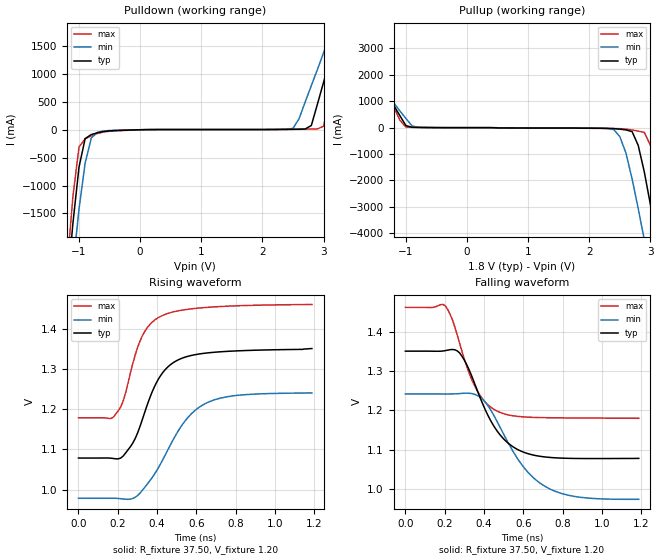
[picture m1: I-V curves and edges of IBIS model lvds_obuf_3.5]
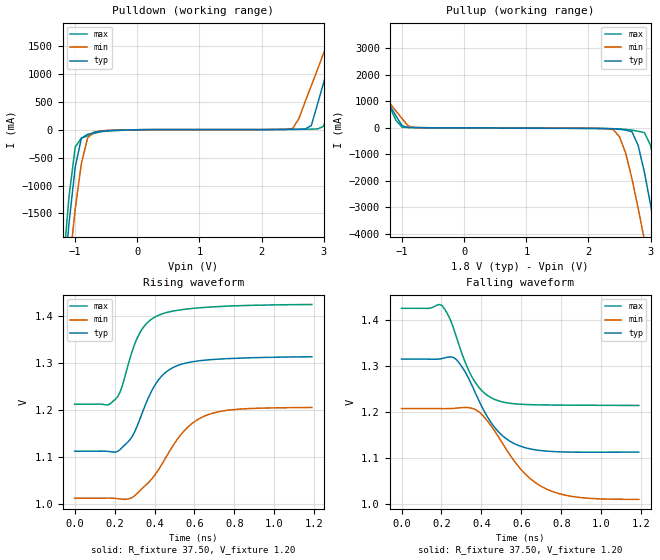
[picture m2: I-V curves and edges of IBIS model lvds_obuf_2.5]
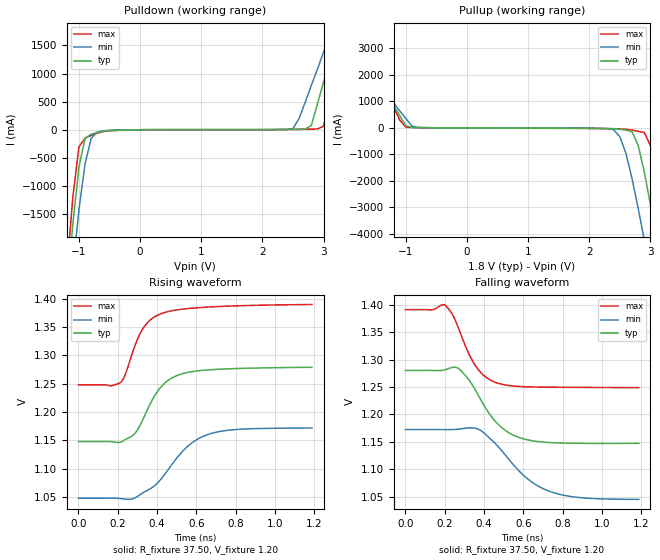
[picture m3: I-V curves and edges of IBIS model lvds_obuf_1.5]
| IBIS file created by TI
[IBIS ver]   3.2
[File name]   lvds_75.ibs
[File Rev]   1.0
[Date]   Dec 06, 2007
[Source]   Data created at TI
[Notes]   GS30 LVDS Driver
[Disclaimer] Please be aware that in the absence of a written agreement,
                 Texas Instruments (TI) assumes no liability for: 1) the
                 accuracy of the IBIS models provided to your company, 2) the
                 proper functioning of these IBIS models in your design or for
                 any resulting applications, or; 3) infringement of patents,
                 copyrights, or intellectual property rights resulting from
                 your use of these IBIS models. TI provides IBIS models as a
                 service to our customers and therefore reserves the right to
                 limit distribution of the IBIS models.
[Copyright]   Property of Texas Instruments Incorporated. Unauthorized
   reproduction and/or distribution is strictly prohibited. This
   product is protected under copyright law and trade secret law
   as an unpublished work. Copyright (C) 2003, Texas Instruments
   Incorporated, all rights reserved. These commodities are under
   the U.S. Government distribution license control. As such,
   they are not to be re-exported without the prior approval of
   the U.S. Department of Commerce.
|   Component ADS5281IPFP
[Component]   ADS5281IPFP
[Manufacturer]   Texas Instruments.
[Package]
| variable   typ   min   max
R_pkg   0.5   NA   NA
L_pkg   5.00nH   NA   NA
C_pkg   2.00pF   NA   NA
[Pin]  signal_name   model_name   R_pin   L_pin   C_pin
LOUTP  LOUTP   OPERATIONAL_MODE
LOUTM  LOUTM   OPERATIONAL_MODE
| IN   IN   dummy
SLVDD  SLVDD   POWER
LVSS   LVSS   GND
[Diff Pin]   inv_pin   vdiff   tdelay_typ   tdelay_min   tdelay_max
 LOUTP  LOUTM   350mV   0   0   0
|   Component ADS528XIRGC
[Component]   ADS528XIRGC
[Manufacturer]   Texas Instruments.
[Package]
| variable   typ   min   max
R_pkg   0.5   NA   NA
L_pkg   2.00nH   NA   NA
C_pkg   0.3pF   NA   NA
[Pin]  signal_name   model_name   R_pin   L_pin   C_pin
LOUTP  LOUTP   OPERATIONAL_MODE
LOUTM  LOUTM   OPERATIONAL_MODE
| IN   IN   dummy
SLVDD  SLVDD   POWER
LVSS   LVSS   GND
[Diff Pin]   inv_pin   vdiff   tdelay_typ   tdelay_min   tdelay_max
 LOUTP  LOUTM   350mV   0   0   0
|   Component AFE5805ZCF
[Component]   AFE5805ZCF
[Manufacturer]   Texas Instruments.
[Package]
| variable   typ   min   max
R_pkg   0.3   NA   NA
L_pkg   5.00nH   NA   NA
C_pkg   1.00pF   NA   NA
[Pin]  signal_name   model_name   R_pin   L_pin   C_pin
LOUTP  LOUTP   OPERATIONAL_MODE
LOUTM  LOUTM   OPERATIONAL_MODE
| IN   IN   dummy
SLVDD  SLVDD   POWER
LVSS   LVSS   GND
[Diff Pin]   inv_pin   vdiff   tdelay_typ   tdelay_min   tdelay_max
 LOUTP  LOUTM   350mV   0   0   0
[Model Selector] OPERATIONAL_MODE
|  Model name   Description
lvds_obuf_3.5   LVDS tri-state buffer with current setting 3.5mA
lvds_obuf_2.5   LVDS tri-state buffer with current setting 2.5mA
lvds_obuf_1.5   LVDS tri-state buffer with current setting 1.5mA
lvds_obuf_0.5   LVDS tri-state buffer with current setting 0.5mA
lvds_obuf_7.5   LVDS tri-state buffer with current setting 7.5mA
lvds_obuf_6.5   LVDS tri-state buffer with current setting 6.5mA
lvds_obuf_5.5   LVDS tri-state buffer with current setting 5.5mA
lvds_obuf_4.5   LVDS tri-state buffer with current setting 4.5mA
| Models and submodels in the file (8): lvds_obuf_3.5 (Output), lvds_obuf_2.5 (Output), lvds_obuf_1.5 (Output), lvds_obuf_0.5 (Output), lvds_obuf_7.5 (Output), lvds_obuf_6.5 (Output), lvds_obuf_5.5 (Output), lvds_obuf_4.5 (Output)
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|   Model lvds_obuf_3.5
[Model]   lvds_obuf_3.5
Model_type   Output
Polarity   Non-Inverting
Vmeas =   1.2000V
C_comp   4.00pF   4.00pF   4.00pF
[Temperature Range]   25.00   0.12k   -40.00
[Voltage Range]   1.80V   1.65V   1.95V
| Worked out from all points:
|   slope of the pulldown table from 0 to 0.27 V, typ, clamps not added: 85.1 ohm
|   slope of the pullup table from 0 to 0.27 V, typ, clamps not added: 20 kohm
|   rising waveform, R_fixture 37.50, V_fixture 1.20: 20-80 % time 144ps typ, 197ps min, 116ps max; typ from 1.08 V to 1.35 V
|   falling waveform, R_fixture 37.50, V_fixture 1.20: 20-80 % time 161ps typ, 205ps min, 127ps max; typ from 1.35 V to 1.08 V
[Pulldown]
| voltage   I(typ)   I(min)   I(max)
-1.8V     -11.18A    -11.48A    -11.52A
-1.2V     -2.92A     -3.64A     -2.52A
-1.1V     -1.68A     -2.48A     -1.2A
-1V       -670mA     -1.42A     -310mA
-900mV    -160mA     -600mA     -160mA
-700mV    -54.9mA    -45.67mA   -69.19mA
2.5V      8.61mA     23.43mA    6.74mA
2.8V      76.35mA    790mA      12.54mA
3V        850mA      1.38A      63.55mA
3.2V      1.63A      1.99A      1.04A
3.4V      2.43A      2.86A      2.04A
3.6V      3.25A      7.06A      3.06A
[Pullup]
| voltage   I(typ)   I(min)   I(max)
-1.8V     3.24A      3.32A      3.82A
-1.6V     2.42A      2.15A      2.8A
-1V       77.19mA    350mA      21.71mA
2.4V      -36.66mA   -74.11mA   -33.43mA
2.5V      -56.44mA   -340mA     -39.91mA
2.7V      -150mA     -1.94A     -88.15mA
2.9V      -1.68A     -4.25A     -180mA
3V        -2.92A     -5.48A     -670mA
3.1V      -4.24A     -6.74A     -1.83A
3.2V      -5.6A      -8.01A     -3.24A
3.3V      -6.98A     -9.31A     -4.7A
3.6V      -11.21A    -15.11A    -9.25A
[Ramp]
| variable   typ   min   max
dV/dt_r   0.33/0.17n   0.21/0.21n   0.43/0.15n
dV/dt_f   91.27m/0.13n   87.96m/0.17n   99.24m/98.47p
R_load = 37.50
[Rising Waveform]
R_fixture = 37.50
V_fixture = 1.20
V_fixture_min = 1.10
V_fixture_max = 1.30
| time   V(typ)   V(min)   V(max)
0s        1.078V     978.3mV    1.178V
168ps     1.078V     978.5mV    1.177V
228ps     1.083V     976.5mV    1.22V
288ps     1.126V     980.4mV    1.333V
324ps     1.172V     997.2mV    1.381V
420ps     1.284V     1.066V     1.431V
540ps     1.328V     1.169V     1.447V
660ps     1.34V      1.217V     1.453V
828ps     1.345V     1.235V     1.457V
1.188ns   1.35V      1.24V      1.46V
[Falling Waveform]
R_fixture = 37.50
V_fixture = 1.20
V_fixture_min = 1.10
V_fixture_max = 1.30
| time   V(typ)   V(min)   V(max)
0s        1.35V      1.242V     1.462V
204ps     1.352V     1.242V     1.465V
276ps     1.346V     1.243V     1.371V
348ps     1.274V     1.241V     1.267V
408ps     1.2V       1.22V      1.22V
468ps     1.147V     1.171V     1.198V
600ps     1.094V     1.057V     1.183V
720ps     1.081V     1.004V     1.181V
888ps     1.078V     979.3mV    1.181V
1.188ns   1.078V     973.9mV    1.18V
|   Model lvds_obuf_2.5
[Model]   lvds_obuf_2.5
Model_type   Output
Polarity   Non-Inverting
Vmeas =   1.2000V
C_comp   4.00pF   4.00pF   4.00pF
[Temperature Range]   25.00   0.12k   -40.00
[Voltage Range]   1.80V   1.65V   1.95V
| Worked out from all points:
|   slope of the pulldown table from 0 to 0.27 V, typ, clamps not added: 119 ohm
|   slope of the pullup table from 0 to 0.27 V, typ, clamps not added: 20 kohm
|   rising waveform, R_fixture 37.50, V_fixture 1.20: 20-80 % time 139ps typ, 194ps min, 115ps max; typ from 1.11 V to 1.31 V
|   falling waveform, R_fixture 37.50, V_fixture 1.20: 20-80 % time 159ps typ, 209ps min, 123ps max; typ from 1.31 V to 1.11 V
[Pulldown]
| voltage   I(typ)   I(min)   I(max)
-1.8V     -11.16A    -11.47A    -11.5A
-1.2V     -2.91A     -3.64A     -2.52A
-1.1V     -1.68A     -2.48A     -1.2A
-1V       -670mA     -1.42A     -310mA
-900mV    -150mA     -600mA     -150mA
-700mV    -52.19mA   -43.75mA   -66.09mA
2.5V      7.68mA     22.5mA     5.8mA
2.8V      75.42mA    790mA      11.61mA
3V        850mA      1.38A      62.6mA
3.2V      1.63A      1.99A      1.04A
3.4V      2.43A      2.86A      2.04A
3.6V      3.25A      7.06A      3.06A
[Pullup]
| voltage   I(typ)   I(min)   I(max)
-1.8V     3.24A      3.32A      3.82A
-1.6V     2.42A      2.15A      2.8A
-1V       77.13mA    350mA      21.58mA
2.4V      -37.06mA   -74.06mA   -33.82mA
2.5V      -56.8mA    -340mA     -40.29mA
2.7V      -150mA     -1.93A     -88.48mA
2.9V      -1.68A     -4.25A     -180mA
3V        -2.92A     -5.48A     -670mA
3.1V      -4.24A     -6.73A     -1.83A
3.2V      -5.59A     -8A        -3.23A
3.3V      -6.97A     -9.3A      -4.69A
3.6V      -11.19A    -15.1A     -9.23A
[Ramp]
| variable   typ   min   max
dV/dt_r   0.32/0.17n   0.20/0.21n   0.43/0.15n
dV/dt_f   69.27m/0.12n   65.77m/0.17n   76.58m/90.34p
R_load = 37.50
[Rising Waveform]
R_fixture = 37.50
V_fixture = 1.20
V_fixture_min = 1.10
V_fixture_max = 1.30
| time   V(typ)   V(min)   V(max)
0s        1.113V     1.013V     1.213V
168ps     1.113V     1.013V     1.212V
204ps     1.111V     1.013V     1.223V
228ps     1.117V     1.011V     1.239V
276ps     1.137V     1.012V     1.309V
324ps     1.178V     1.028V     1.363V
420ps     1.265V     1.074V     1.402V
540ps     1.299V     1.152V     1.414V
660ps     1.307V     1.189V     1.419V
1.188ns   1.314V     1.206V     1.425V
[Falling Waveform]
R_fixture = 37.50
V_fixture = 1.20
V_fixture_min = 1.10
V_fixture_max = 1.30
| time   V(typ)   V(min)   V(max)
0s        1.315V     1.208V     1.426V
204ps     1.317V     1.207V     1.432V
240ps     1.32V      1.208V     1.406V
276ps     1.314V     1.208V     1.362V
360ps     1.251V     1.207V     1.271V
468ps     1.166V     1.158V     1.227V
600ps     1.125V     1.074V     1.217V
720ps     1.115V     1.033V     1.215V
888ps     1.112V     1.014V     1.215V
1.188ns   1.113V     1.009V     1.214V
|   Model lvds_obuf_1.5
[Model]   lvds_obuf_1.5
Model_type   Output
Polarity   Non-Inverting
Vmeas =   1.2000V
C_comp   4.00pF   4.00pF   4.00pF
[Temperature Range]   25.00   0.12k   -40.00
[Voltage Range]   1.80V   1.65V   1.95V
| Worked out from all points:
|   slope of the pulldown table from 0 to 0.27 V, typ, clamps not added: 196 ohm
|   slope of the pullup table from 0 to 0.27 V, typ, clamps not added: 20 kohm
|   rising waveform, R_fixture 37.50, V_fixture 1.20: 20-80 % time 135ps typ, 187ps min, 114ps max; typ from 1.15 V to 1.28 V
|   falling waveform, R_fixture 37.50, V_fixture 1.20: 20-80 % time 156ps typ, 212ps min, 117ps max; typ from 1.28 V to 1.15 V
[Pulldown]
| voltage   I(typ)   I(min)   I(max)
-1.8V     -11.14A    -11.47A    -11.48A
-1.2V     -2.91A     -3.63A     -2.51A
-1.1V     -1.67A     -2.47A     -1.19A
-1V       -660mA     -1.41A     -300mA
-900mV    -150mA     -600mA     -150mA
-800mV    -79.01mA   -150mA     -100mA
2.5V      6.75mA     21.57mA    4.87mA
2.8V      74.49mA    790mA      10.67mA
3V        850mA      1.38A      61.66mA
3.3V      2.03A      2.34A      1.54A
3.4V      2.43A      2.86A      2.04A
3.6V      3.25A      7.06A      3.05A
[Pullup]
| voltage   I(typ)   I(min)   I(max)
-1.8V     3.24A      3.32A      3.82A
-1.6V     2.42A      2.15A      2.8A
-1V       77.07mA    350mA      21.44mA
2.4V      -36.93mA   -73.68mA   -33.57mA
2.5V      -56.63mA   -340mA     -40.03mA
2.7V      -150mA     -1.93A     -88.16mA
2.9V      -1.67A     -4.24A     -180mA
3V        -2.91A     -5.47A     -670mA
3.1V      -4.23A     -6.72A     -1.83A
3.2V      -5.58A     -7.99A     -3.22A
3.3V      -6.96A     -9.29A     -4.68A
3.6V      -11.17A    -15.1A     -9.2A
[Ramp]
| variable   typ   min   max
dV/dt_r   0.30/0.17n   0.19/0.20n   0.41/0.15n
dV/dt_f   47.26m/0.11n   43.10m/0.16n   53.57m/78.48p
R_load = 37.50
[Rising Waveform]
R_fixture = 37.50
V_fixture = 1.20
V_fixture_min = 1.10
V_fixture_max = 1.30
| time   V(typ)   V(min)   V(max)
0s        1.148V     1.048V     1.248V
216ps     1.147V     1.047V     1.252V
240ps     1.152V     1.046V     1.267V
288ps     1.162V     1.048V     1.317V
324ps     1.184V     1.057V     1.345V
384ps     1.226V     1.069V     1.367V
432ps     1.249V     1.087V     1.375V
552ps     1.269V     1.138V     1.382V
660ps     1.274V     1.16V      1.385V
1.188ns   1.279V     1.172V     1.39V
[Falling Waveform]
R_fixture = 37.50
V_fixture = 1.20
V_fixture_min = 1.10
V_fixture_max = 1.30
| time   V(typ)   V(min)   V(max)
0s        1.28V      1.173V     1.391V
204ps     1.282V     1.172V     1.399V
240ps     1.286V     1.172V     1.382V
276ps     1.282V     1.173V     1.352V
360ps     1.242V     1.175V     1.287V
468ps     1.184V     1.143V     1.257V
612ps     1.155V     1.086V     1.251V
732ps     1.149V     1.06V      1.25V
900ps     1.147V     1.048V     1.249V
1.188ns   1.147V     1.045V     1.249V
